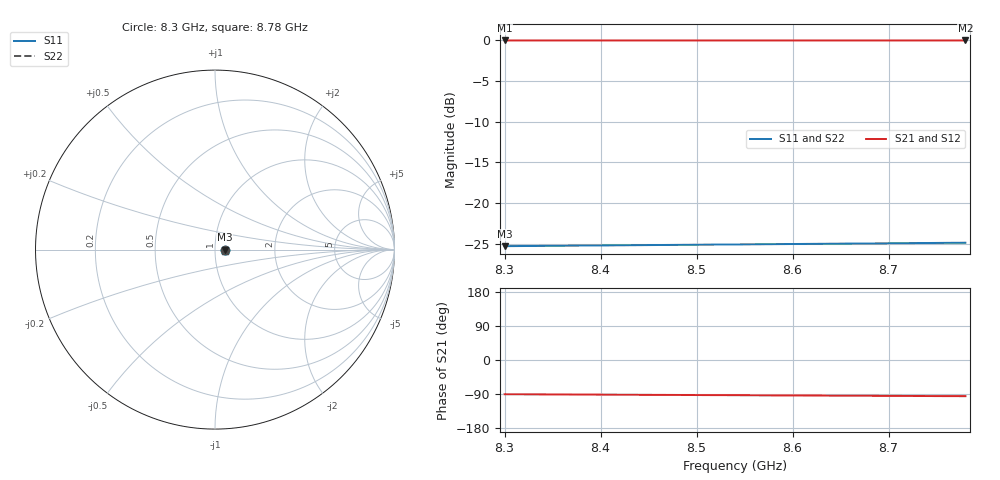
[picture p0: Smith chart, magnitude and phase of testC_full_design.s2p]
! Touchstone file exported from HFSS 2024.2.0
!  File:  C:/Users/artho/Documents/Ansoft/ansys_testC.aedt
!  Generated:  01:48:53 AM Sep  7, 2026
!  Design:  HFSS_NT9
!  Project:  ansys_testC
!  Setup:  Setup1
!  Solution:  Sweep1
!Data is not renormalized
# GHz S MA
! Terminal data exported
! Port[1] = p1
! Port[2] = p2
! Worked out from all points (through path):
!   6001 points, 8.3 GHz to 8.78 GHz, reference per port
!   highest |S21| = -0.01 dB at 8.3 GHz (marker M1); lowest = 0.0 dB at 8.78 GHz (marker M2)
!   group delay of S21, straight-line fit = 30.3 ps
!   lowest |S11| = -25.3 dB at 8.3 GHz (marker M3), VSWR 1.11
!   |S11| at or under -10 dB: start of sweep to end of sweep
!   |S22| runs from -25.3 to -24.9 dB; largest |S21 - S12| = 2.8e-15
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8.3  0.0543 -0.5  0.9985 -90.3  0.9985 -90.3  0.0543 -0.1
8.3012  0.0543 -0.5  0.9985 -90.3  0.9985 -90.3  0.0543 -0.1
8.3024  0.05431 -0.5  0.9985 -90.3  0.9985 -90.3  0.05431 -0.1
8.3412  0.05453 -1.0  0.9985 -90.7  0.9985 -90.7  0.05453 -0.5
8.38  0.05476 -1.4  0.9985 -91.2  0.9985 -91.2  0.05476 -1.0
8.4  0.05487 -1.6  0.9985 -91.4  0.9985 -91.4  0.05487 -1.2
8.42  0.05498 -1.8  0.9985 -91.6  0.9985 -91.6  0.05498 -1.4
8.44  0.0551 -2.0  0.9985 -91.8  0.9985 -91.8  0.0551 -1.6
8.46  0.05521 -2.2  0.9985 -92.0  0.9985 -92.0  0.05521 -1.8
8.48  0.05532 -2.5  0.9985 -92.3  0.9985 -92.3  0.05532 -2.1
8.5  0.05544 -2.7  0.9985 -92.5  0.9985 -92.5  0.05544 -2.3
8.52  0.05555 -2.9  0.9984 -92.7  0.9984 -92.7  0.05555 -2.5
8.54008  0.05567 -3.1  0.9984 -92.9  0.9984 -92.9  0.05567 -2.7
8.58  0.05589 -3.6  0.9984 -93.4  0.9984 -93.4  0.05589 -3.1
8.6  0.056 -3.8  0.9984 -93.6  0.9984 -93.6  0.056 -3.4
8.62  0.05612 -4.0  0.9984 -93.8  0.9984 -93.8  0.05612 -3.6
8.66  0.05634 -4.4  0.9984 -94.2  0.9984 -94.2  0.05634 -4.0
8.7  0.05657 -4.9  0.9984 -94.7  0.9984 -94.7  0.05657 -4.5
8.7388  0.05679 -5.3  0.9984 -95.1  0.9984 -95.1  0.05679 -4.9
8.7776  0.057 -5.7  0.9984 -95.5  0.9984 -95.5  0.057 -5.3
8.7788  0.05701 -5.7  0.9984 -95.5  0.9984 -95.5  0.05701 -5.3
8.78  0.05702 -5.7  0.9984 -95.5  0.9984 -95.5  0.05702 -5.3
